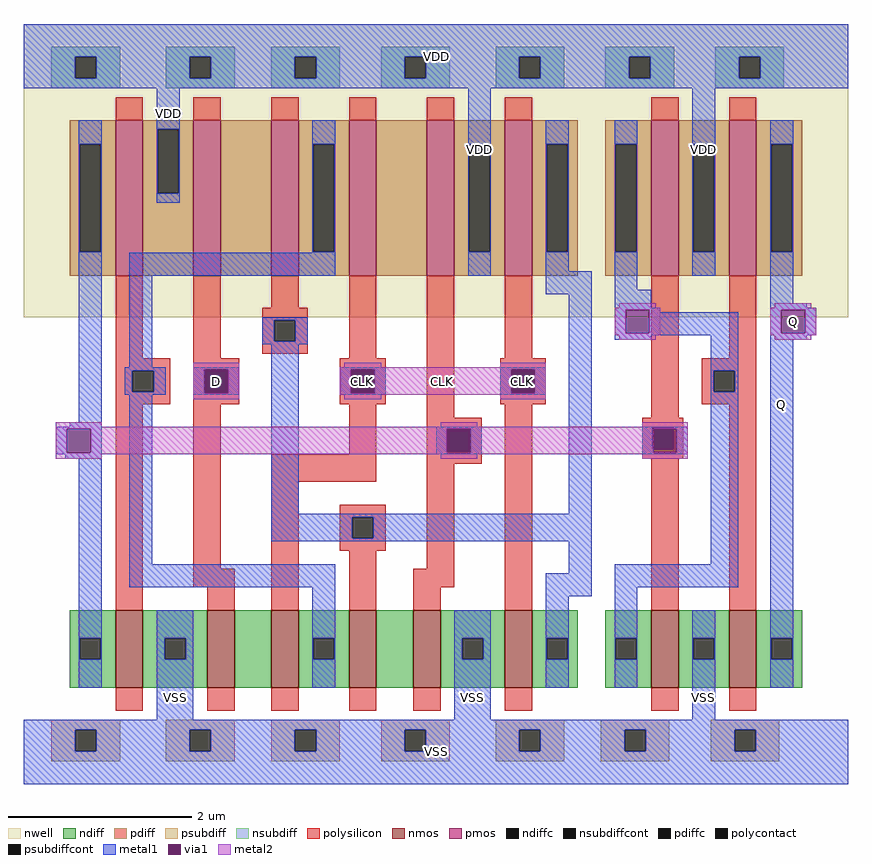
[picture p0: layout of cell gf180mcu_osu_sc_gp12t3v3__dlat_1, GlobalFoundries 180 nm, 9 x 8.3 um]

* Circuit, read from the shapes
.subckt gf180mcu_osu_sc_gp12t3v3__dlat_1 D Q CLK VDD VSS
XM1 VSS n1 n2 VSS nfet_03v3 w=0.85u l=0.3u
XM2 n3 D VSS VSS nfet_03v3 w=0.85u l=0.3u
XM3 n1 CLK n3 VSS nfet_03v3 w=0.85u l=0.3u
XM4 n4 n5 n1 VSS nfet_03v3 w=0.85u l=0.3u
XM5 VSS n2 n4 VSS nfet_03v3 w=0.85u l=0.3u
XM6 n5 CLK VSS VSS nfet_03v3 w=0.85u l=0.3u
XM7 VSS n2 n6 VSS nfet_03v3 w=0.85u l=0.3u
XM8 Q n6 VSS VSS nfet_03v3 w=0.85u l=0.3u
XM9 VDD n1 n2 VDD pfet_03v3 w=1.7u l=0.3u
XM10 n7 D VDD VDD pfet_03v3 w=1.7u l=0.3u
XM11 n1 n5 n7 VDD pfet_03v3 w=1.7u l=0.3u
XM12 n8 CLK n1 VDD pfet_03v3 w=1.7u l=0.3u
XM13 VDD n2 n8 VDD pfet_03v3 w=1.7u l=0.3u
XM14 n5 CLK VDD VDD pfet_03v3 w=1.7u l=0.3u
XM15 VDD n2 n6 VDD pfet_03v3 w=1.7u l=0.3u
XM16 Q n6 VDD VDD pfet_03v3 w=1.7u l=0.3u
.ends

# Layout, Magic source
magic
tech gf180mcuA
magscale 1 10
<< nwell >>
rect 0 1020 1800 1660
<< nmos >>
rect 200 210 260 380
rect 400 210 460 380
rect 540 210 600 380
rect 710 210 770 380
rect 850 210 910 380
rect 1050 210 1110 380
rect 1370 210 1430 380
rect 1540 210 1600 380
<< pmos >>
rect 200 1110 260 1450
rect 370 1110 430 1450
rect 540 1110 600 1450
rect 710 1110 770 1450
rect 880 1110 940 1450
rect 1050 1110 1110 1450
rect 1370 1110 1430 1450
rect 1540 1110 1600 1450
<< ndiff >>
rect 100 318 200 380
rect 100 272 122 318
rect 168 272 200 318
rect 100 210 200 272
rect 260 318 400 380
rect 260 272 307 318
rect 353 272 400 318
rect 260 210 400 272
rect 460 210 540 380
rect 600 318 710 380
rect 600 272 632 318
rect 678 272 710 318
rect 600 210 710 272
rect 770 210 850 380
rect 910 318 1050 380
rect 910 272 957 318
rect 1003 272 1050 318
rect 910 210 1050 272
rect 1110 318 1210 380
rect 1110 272 1142 318
rect 1188 272 1210 318
rect 1110 210 1210 272
rect 1270 318 1370 380
rect 1270 272 1292 318
rect 1338 272 1370 318
rect 1270 210 1370 272
rect 1430 318 1540 380
rect 1430 272 1462 318
rect 1508 272 1540 318
rect 1430 210 1540 272
rect 1600 318 1700 380
rect 1600 272 1632 318
rect 1678 272 1700 318
rect 1600 210 1700 272
<< pdiff >>
rect 100 1397 200 1450
rect 100 1163 122 1397
rect 168 1163 200 1397
rect 100 1110 200 1163
rect 260 1430 370 1450
rect 260 1290 292 1430
rect 338 1290 370 1430
rect 260 1110 370 1290
rect 430 1110 540 1450
rect 600 1397 710 1450
rect 600 1163 632 1397
rect 678 1163 710 1397
rect 600 1110 710 1163
rect 770 1110 880 1450
rect 940 1397 1050 1450
rect 940 1163 972 1397
rect 1018 1163 1050 1397
rect 940 1110 1050 1163
rect 1110 1397 1210 1450
rect 1110 1163 1142 1397
rect 1188 1163 1210 1397
rect 1110 1110 1210 1163
rect 1270 1397 1370 1450
rect 1270 1163 1292 1397
rect 1338 1163 1370 1397
rect 1270 1110 1370 1163
rect 1430 1397 1540 1450
rect 1430 1163 1462 1397
rect 1508 1163 1540 1397
rect 1430 1110 1540 1163
rect 1600 1397 1700 1450
rect 1600 1163 1632 1397
rect 1678 1163 1700 1397
rect 1600 1110 1700 1163
<< ndiffc >>
rect 122 272 168 318
rect 307 272 353 318
rect 632 272 678 318
rect 957 272 1003 318
rect 1142 272 1188 318
rect 1292 272 1338 318
rect 1462 272 1508 318
rect 1632 272 1678 318
<< pdiffc >>
rect 122 1163 168 1397
rect 292 1290 338 1430
rect 632 1163 678 1397
rect 972 1163 1018 1397
rect 1142 1163 1188 1397
rect 1292 1163 1338 1397
rect 1462 1163 1508 1397
rect 1632 1163 1678 1397
<< psubdiff >>
rect 60 118 210 140
rect 60 72 112 118
rect 158 72 210 118
rect 60 50 210 72
rect 310 118 460 140
rect 310 72 362 118
rect 408 72 460 118
rect 310 50 460 72
rect 540 118 690 140
rect 540 72 592 118
rect 638 72 690 118
rect 540 50 690 72
rect 780 118 930 140
rect 780 72 832 118
rect 878 72 930 118
rect 780 50 930 72
rect 1030 118 1180 140
rect 1030 72 1082 118
rect 1128 72 1180 118
rect 1030 50 1180 72
rect 1260 118 1410 140
rect 1260 72 1312 118
rect 1358 72 1410 118
rect 1260 50 1410 72
rect 1500 118 1650 140
rect 1500 72 1552 118
rect 1598 72 1650 118
rect 1500 50 1650 72
<< nsubdiff >>
rect 60 1588 210 1610
rect 60 1542 112 1588
rect 158 1542 210 1588
rect 60 1520 210 1542
rect 310 1588 460 1610
rect 310 1542 362 1588
rect 408 1542 460 1588
rect 310 1520 460 1542
rect 540 1588 690 1610
rect 540 1542 592 1588
rect 638 1542 690 1588
rect 540 1520 690 1542
rect 780 1588 930 1610
rect 780 1542 832 1588
rect 878 1542 930 1588
rect 780 1520 930 1542
rect 1030 1588 1180 1610
rect 1030 1542 1082 1588
rect 1128 1542 1180 1588
rect 1030 1520 1180 1542
rect 1270 1588 1420 1610
rect 1270 1542 1322 1588
rect 1368 1542 1420 1588
rect 1270 1520 1420 1542
rect 1510 1588 1660 1610
rect 1510 1542 1562 1588
rect 1608 1542 1660 1588
rect 1510 1520 1660 1542
<< psubdiffcont >>
rect 112 72 158 118
rect 362 72 408 118
rect 592 72 638 118
rect 832 72 878 118
rect 1082 72 1128 118
rect 1312 72 1358 118
rect 1552 72 1598 118
<< nsubdiffcont >>
rect 112 1542 158 1588
rect 362 1542 408 1588
rect 592 1542 638 1588
rect 832 1542 878 1588
rect 1082 1542 1128 1588
rect 1322 1542 1368 1588
rect 1562 1542 1608 1588
<< polysilicon >>
rect 200 1450 260 1500
rect 370 1450 430 1500
rect 540 1450 600 1500
rect 710 1450 770 1500
rect 880 1450 940 1500
rect 1050 1450 1110 1500
rect 1370 1450 1430 1500
rect 1540 1450 1600 1500
rect 200 930 260 1110
rect 370 930 430 1110
rect 540 1040 600 1110
rect 520 1013 620 1040
rect 520 967 547 1013
rect 593 967 620 1013
rect 520 940 620 967
rect 710 930 770 1110
rect 200 903 320 930
rect 200 857 237 903
rect 283 857 320 903
rect 200 830 320 857
rect 370 903 470 930
rect 370 857 397 903
rect 443 857 470 903
rect 370 830 470 857
rect 690 903 790 930
rect 690 857 717 903
rect 763 857 790 903
rect 690 830 790 857
rect 200 380 260 830
rect 370 470 430 830
rect 710 720 770 830
rect 540 660 770 720
rect 880 800 940 1110
rect 1050 930 1110 1110
rect 1040 903 1140 930
rect 1040 857 1067 903
rect 1113 857 1140 903
rect 1040 830 1140 857
rect 880 773 1000 800
rect 880 727 927 773
rect 973 727 1000 773
rect 880 700 1000 727
rect 370 430 460 470
rect 400 380 460 430
rect 540 380 600 660
rect 690 583 790 610
rect 690 537 717 583
rect 763 537 790 583
rect 690 510 790 537
rect 710 380 770 510
rect 880 470 940 700
rect 850 430 940 470
rect 850 380 910 430
rect 1050 380 1110 830
rect 1370 800 1430 1110
rect 1540 930 1600 1110
rect 1480 903 1600 930
rect 1480 857 1507 903
rect 1553 857 1600 903
rect 1480 830 1600 857
rect 1350 778 1440 800
rect 1350 732 1372 778
rect 1418 732 1440 778
rect 1350 710 1440 732
rect 1370 380 1430 710
rect 1540 380 1600 830
rect 200 160 260 210
rect 400 160 460 210
rect 540 160 600 210
rect 710 160 770 210
rect 850 160 910 210
rect 1050 160 1110 210
rect 1370 160 1430 210
rect 1540 160 1600 210
<< polycontact >>
rect 547 967 593 1013
rect 237 857 283 903
rect 397 857 443 903
rect 717 857 763 903
rect 1067 857 1113 903
rect 927 727 973 773
rect 717 537 763 583
rect 1507 857 1553 903
rect 1372 732 1418 778
<< metal1 >>
rect 0 1588 1800 1660
rect 0 1542 112 1588
rect 158 1542 362 1588
rect 408 1542 592 1588
rect 638 1542 832 1588
rect 878 1542 1082 1588
rect 1128 1542 1322 1588
rect 1368 1542 1562 1588
rect 1608 1542 1800 1588
rect 0 1520 1800 1542
rect 120 1397 170 1450
rect 120 1163 122 1397
rect 168 1163 170 1397
rect 290 1430 340 1520
rect 290 1290 292 1430
rect 338 1290 340 1430
rect 290 1270 340 1290
rect 630 1397 680 1450
rect 120 790 170 1163
rect 630 1163 632 1397
rect 678 1163 680 1397
rect 630 1160 680 1163
rect 230 1110 680 1160
rect 970 1397 1020 1520
rect 970 1163 972 1397
rect 1018 1163 1020 1397
rect 970 1110 1020 1163
rect 1140 1397 1190 1450
rect 1140 1163 1142 1397
rect 1188 1163 1190 1397
rect 1140 1120 1190 1163
rect 1290 1397 1340 1450
rect 1290 1163 1292 1397
rect 1338 1163 1340 1397
rect 230 910 280 1110
rect 1140 1070 1240 1120
rect 520 1013 620 1020
rect 520 967 547 1013
rect 593 967 620 1013
rect 520 960 620 967
rect 220 903 310 910
rect 220 857 237 903
rect 283 857 310 903
rect 220 850 310 857
rect 370 906 470 910
rect 370 854 394 906
rect 446 854 470 906
rect 370 850 470 854
rect 100 780 170 790
rect 70 776 170 780
rect 70 724 94 776
rect 146 724 170 776
rect 70 720 170 724
rect 90 710 170 720
rect 120 318 170 710
rect 230 480 280 850
rect 540 590 600 960
rect 690 906 790 910
rect 690 854 714 906
rect 766 854 790 906
rect 690 850 790 854
rect 1040 906 1140 910
rect 1040 854 1064 906
rect 1116 854 1140 906
rect 1040 850 1140 854
rect 900 776 1000 780
rect 900 724 924 776
rect 976 724 1000 776
rect 900 720 1000 724
rect 1190 590 1240 1070
rect 1290 1080 1340 1163
rect 1460 1397 1510 1520
rect 1460 1163 1462 1397
rect 1508 1163 1510 1397
rect 1460 1110 1510 1163
rect 1630 1397 1680 1450
rect 1630 1163 1632 1397
rect 1678 1163 1680 1397
rect 1290 1040 1370 1080
rect 1630 1050 1680 1163
rect 1630 1040 1710 1050
rect 1290 1036 1390 1040
rect 1290 984 1314 1036
rect 1366 1030 1390 1036
rect 1630 1036 1730 1040
rect 1366 984 1560 1030
rect 1290 980 1560 984
rect 1290 970 1370 980
rect 1500 903 1560 980
rect 1500 857 1507 903
rect 1553 857 1560 903
rect 1350 778 1450 780
rect 1350 732 1372 778
rect 1418 776 1450 778
rect 1350 724 1374 732
rect 1426 724 1450 776
rect 1350 720 1450 724
rect 540 583 1240 590
rect 540 537 717 583
rect 763 537 1240 583
rect 540 530 1240 537
rect 230 430 680 480
rect 1190 460 1240 530
rect 1500 480 1560 857
rect 120 272 122 318
rect 168 272 170 318
rect 120 210 170 272
rect 290 318 370 380
rect 290 272 307 318
rect 353 272 370 318
rect 290 140 370 272
rect 630 318 680 430
rect 1140 410 1240 460
rect 1290 430 1560 480
rect 1630 984 1654 1036
rect 1706 984 1730 1036
rect 1630 980 1730 984
rect 1630 970 1710 980
rect 630 272 632 318
rect 678 272 680 318
rect 630 210 680 272
rect 940 318 1020 380
rect 940 272 957 318
rect 1003 272 1020 318
rect 940 140 1020 272
rect 1140 318 1190 410
rect 1140 272 1142 318
rect 1188 272 1190 318
rect 1140 210 1190 272
rect 1290 318 1340 430
rect 1290 272 1292 318
rect 1338 272 1340 318
rect 1290 210 1340 272
rect 1460 318 1510 380
rect 1460 272 1462 318
rect 1508 272 1510 318
rect 1460 140 1510 272
rect 1630 318 1680 970
rect 1630 272 1632 318
rect 1678 272 1680 318
rect 1630 210 1680 272
rect 0 118 1800 140
rect 0 72 112 118
rect 158 72 362 118
rect 408 72 592 118
rect 638 72 832 118
rect 878 72 1082 118
rect 1128 72 1312 118
rect 1358 72 1552 118
rect 1598 72 1800 118
rect 0 0 1800 72
<< via1 >>
rect 394 903 446 906
rect 394 857 397 903
rect 397 857 443 903
rect 443 857 446 903
rect 394 854 446 857
rect 94 724 146 776
rect 714 903 766 906
rect 714 857 717 903
rect 717 857 763 903
rect 763 857 766 903
rect 714 854 766 857
rect 1064 903 1116 906
rect 1064 857 1067 903
rect 1067 857 1113 903
rect 1113 857 1116 903
rect 1064 854 1116 857
rect 924 773 976 776
rect 924 727 927 773
rect 927 727 973 773
rect 973 727 976 773
rect 924 724 976 727
rect 1314 984 1366 1036
rect 1374 732 1418 776
rect 1418 732 1426 776
rect 1374 724 1426 732
rect 1654 984 1706 1036
<< metal2 >>
rect 1300 1040 1380 1050
rect 1640 1040 1720 1050
rect 1290 1036 1390 1040
rect 1290 984 1314 1036
rect 1366 984 1390 1036
rect 1290 980 1390 984
rect 1630 1036 1730 1040
rect 1630 984 1654 1036
rect 1706 984 1730 1036
rect 1630 980 1730 984
rect 1300 970 1380 980
rect 1640 970 1720 980
rect 370 906 470 920
rect 700 910 780 920
rect 1040 910 1140 920
rect 370 854 394 906
rect 446 854 470 906
rect 370 840 470 854
rect 690 906 1140 910
rect 690 854 714 906
rect 766 854 1064 906
rect 1116 854 1140 906
rect 690 850 1140 854
rect 700 840 780 850
rect 1040 840 1140 850
rect 70 780 170 790
rect 910 780 990 790
rect 1350 780 1450 790
rect 70 776 1450 780
rect 70 724 94 776
rect 146 724 924 776
rect 976 724 1374 776
rect 1426 724 1450 776
rect 70 720 1450 724
rect 70 710 170 720
rect 910 710 990 720
rect 1350 710 1450 720
<< labels >>
rlabel via1 s 394 854 446 906 4 D
port 1 nsew signal input
rlabel via1 s 1654 984 1706 1036 4 Q
port 2 nsew signal output
rlabel via1 s 1064 854 1116 906 4 CLK
port 3 nsew clock input
rlabel metal1 s 290 1270 340 1660 4 VDD
port 4 nsew power bidirectional abutment
rlabel metal1 s 290 0 370 380 4 VSS
port 5 nsew ground bidirectional abutment
rlabel via1 s 714 854 766 906 1 CLK
port 3 nsew clock input
rlabel metal1 s 690 850 790 910 1 CLK
port 3 nsew clock input
rlabel metal1 s 1040 850 1140 910 1 CLK
port 3 nsew clock input
rlabel metal2 s 700 840 780 920 1 CLK
port 3 nsew clock input
rlabel metal2 s 690 850 1140 910 1 CLK
port 3 nsew clock input
rlabel metal2 s 1040 840 1140 920 1 CLK
port 3 nsew clock input
rlabel metal1 s 970 1110 1020 1660 1 VDD
port 4 nsew power bidirectional abutment
rlabel metal1 s 1460 1110 1510 1660 1 VDD
port 4 nsew power bidirectional abutment
rlabel metal1 s 0 1520 1800 1660 1 VDD
port 4 nsew power bidirectional abutment
rlabel metal1 s 940 0 1020 380 1 VSS
port 5 nsew ground bidirectional abutment
rlabel metal1 s 1460 0 1510 380 1 VSS
port 5 nsew ground bidirectional abutment
rlabel metal1 s 0 0 1800 140 1 VSS
port 5 nsew ground bidirectional abutment
rlabel metal1 s 370 850 470 910 1 D
port 1 nsew signal input
rlabel metal2 s 370 840 470 920 1 D
port 1 nsew signal input
rlabel metal1 s 1630 210 1680 1450 1 Q
port 2 nsew signal output
rlabel metal1 s 1630 970 1710 1050 1 Q
port 2 nsew signal output
rlabel metal1 s 1630 980 1730 1040 1 Q
port 2 nsew signal output
rlabel metal2 s 1640 970 1720 1050 1 Q
port 2 nsew signal output
rlabel metal2 s 1630 980 1730 1040 1 Q
port 2 nsew signal output
<< properties >>
string FIXED_BBOX 0 0 1800 1660
string GDS_END 388160
string GDS_FILE $PDKPATH/libs.ref/gf180mcu_osu_sc_gp12t3v3/gds/gf180mcu_osu_sc_gp12t3v3.gds
string GDS_START 375224
string LEFclass CORE
string LEFsite gf180mcu_osu_sc_gp12t3v3
string LEFsymmetry X Y
<< end >>
